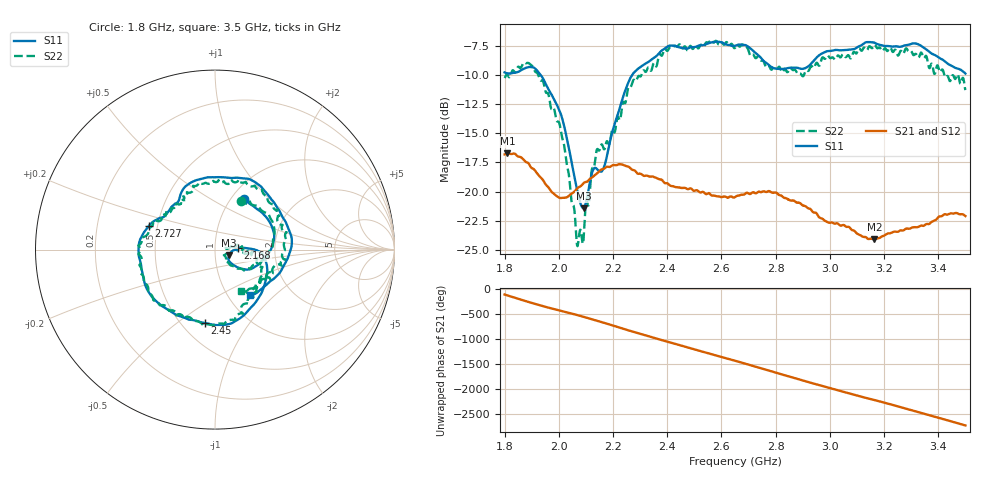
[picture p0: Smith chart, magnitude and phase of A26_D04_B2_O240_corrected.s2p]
! Created with skrf 1.9.0 (http://scikit-rf.org).
# Hz S RI R 50.0
!freq ReS11 ImS11 ReS21 ImS21 ReS12 ImS12 ReS22 ImS22
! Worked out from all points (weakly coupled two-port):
!   1601 points, 1.8 GHz to 3.5 GHz, reference 50 ohm
!   highest |S21| = -16.72 dB at 1.811 GHz (marker M1); lowest = -24.1 dB at 3.164 GHz (marker M2)
!   lowest |S11| = -21.4 dB at 2.091 GHz (marker M3), VSWR 1.19, Z = 58.5 - j3.59 ohm
!   |S11| at or under -10 dB: 1.933 GHz to 2.271 GHz (337.7 MHz wide, 16.1 % of centre)
!   |S22| runs from -24.7 to -7.0 dB; largest |S21 - S12| = 0.0023
!   S11 on the Smith chart (normalised r, x): 1.8 GHz: 1.15, +0.72; 2.168 GHz: 1.29, +0.02; 2.45 GHz: 0.65, -0.64; 2.727 GHz: 0.45, +0.14; 3.5 GHz: 1.25, -0.71
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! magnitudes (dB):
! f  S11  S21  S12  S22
! 1.8 GHz  -9.8  -16.8  -16.8  -10.3
! 1.811 GHz  -9.9  -16.7  -16.7  -10.0
! 1.882 GHz  -9.4  -17.5  -17.5  -9.0
! 1.941 GHz  -10.3  -19.0  -19.0  -10.5
! 2.007 GHz  -13.3  -20.6  -20.5  -14.8
! 2.067 GHz  -19.8  -19.8  -19.8  -24.5
! 2.084 GHz  -21.3  -19.5  -19.4  -23.7
! 2.091 GHz  -21.4  -19.3  -19.3  -24.1
! 2.13 GHz  -18.0  -18.6  -18.6  -17.9
! 2.168 GHz  -17.8  -18.0  -18.0  -16.4
! 2.262 GHz  -10.3  -18.0  -18.0  -11.0
! 2.367 GHz  -8.2  -18.9  -18.9  -8.5
! 2.45 GHz  -7.7  -19.7  -19.7  -7.5
! 2.65 GHz  -7.5  -20.5  -20.4  -7.7
! 2.727 GHz  -8.1  -20.1  -20.1  -8.6
! 2.801 GHz  -9.5  -20.1  -20.1  -9.4
! 2.898 GHz  -9.5  -21.2  -21.1  -10.1
! 2.934 GHz  -9.0  -21.7  -21.6  -9.2
! 3.164 GHz  -7.2  -24.1  -24.1  -7.4
! 3.217 GHz  -7.5  -23.6  -23.5  -7.8
! 3.324 GHz  -7.3  -23.0  -23.0  -8.4
! 3.5 GHz  -9.9  -22.1  -22.1  -11.3
